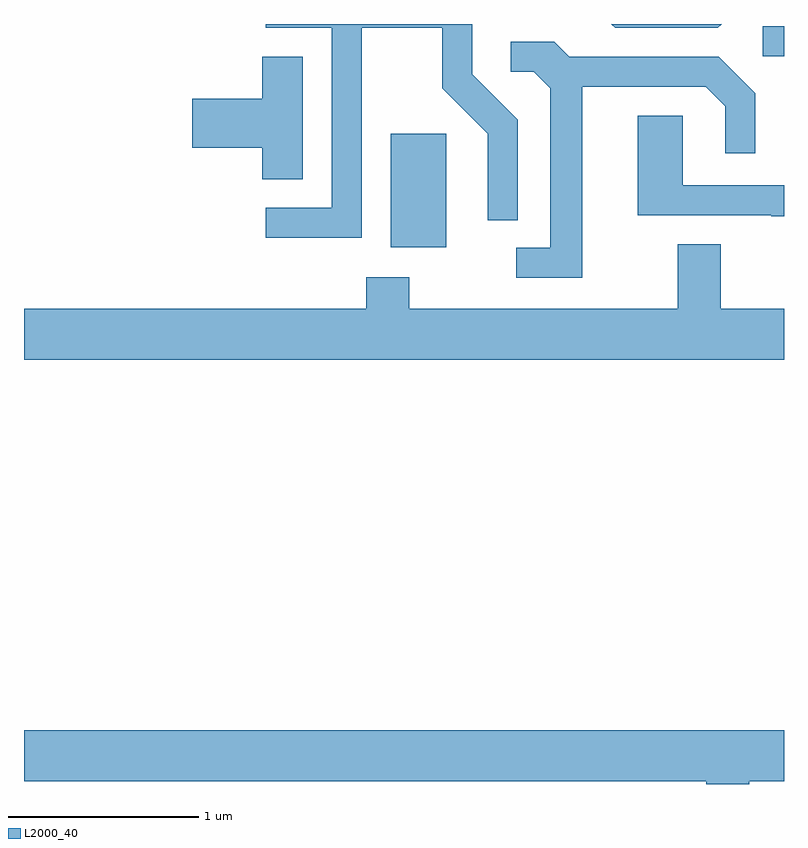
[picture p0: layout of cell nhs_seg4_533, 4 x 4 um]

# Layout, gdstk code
import gdstk
lib = gdstk.Library(unit=1e-6, precision=1e-09)
def R(c, l, rs):  # rectangles x0, y0, x1, y1
    for r in rs: c.add(gdstk.rectangle(r[:2], r[2:], *l))
def P(c, l, *ps):  # polygons
    for p in ps: c.add(gdstk.Polygon(p, *l))
L2000_40 = (2000, 40)

nhs_seg4_533 = lib.new_cell('nhs_seg4_533')
R(nhs_seg4_533, L2000_40, [(201.541,1370.806,201.834,1371.404), (203.498,1371.811,203.611,1371.969)])
P(nhs_seg4_533, L2000_40, [(201.389,1371.961),(201.811,1371.961),(201.811,1371.644),(202.051,1371.404),(202.051,1370.948),(202.209,1370.948),(202.209,1371.477),(201.969,1371.717),(201.969,1371.982),(200.883,1371.982),(200.883,1371.961),(201.231,1371.961),(201.231,1371.014),(200.883,1371.014),(200.883,1370.856),(201.389,1370.856)],
  [(203.283,1371.982),(202.703,1371.982),(202.724,1371.961),(203.262,1371.961)],
  [(202.549,1371.651),(203.199,1371.651),(203.301,1371.549),(203.301,1371.303),(203.459,1371.303),(203.459,1371.617),(203.267,1371.809),(202.482,1371.809),(202.402,1371.889),(202.173,1371.889),(202.173,1371.731),(202.294,1371.731),(202.381,1371.644),(202.381,1370.804),(202.203,1370.804),(202.203,1370.646),(202.549,1370.646)],
  [(201.079,1371.809),(200.866,1371.809),(200.866,1371.589),(200.496,1371.589),(200.496,1371.331),(200.866,1371.331),(200.866,1371.166),(201.079,1371.166)],
  [(203.611,1371.134),(203.079,1371.134),(203.079,1371.499),(202.841,1371.499),(202.841,1370.976),(203.545,1370.976),(203.545,1370.971),(203.611,1370.971)],
  [(203.611,1370.484),(203.279,1370.484),(203.279,1370.824),(203.051,1370.824),(203.051,1370.484),(201.639,1370.484),(201.639,1370.649),(201.411,1370.649),(201.411,1370.484),(199.611,1370.484),(199.611,1370.216),(203.611,1370.216)],
  [(203.429,1367.996),(203.611,1367.996),(203.611,1368.264),(199.611,1368.264),(199.611,1367.996),(203.201,1367.996),(203.201,1367.982),(203.429,1367.982)])

lib.write_gds('nhs_seg4_533.gds')
